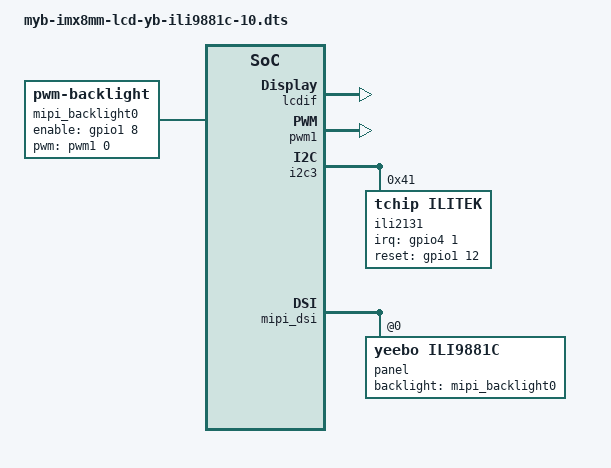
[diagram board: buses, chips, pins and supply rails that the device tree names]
/*
 * Copyright 2021 Cooker Devices
 */

#include "myb-imx8mm-base.dts"

/{
     display-subsystem {                                                                                
         status = "okay";
	};
    
        mipi_backlight0: mipi_backlight@0 {
                compatible = "pwm-backlight";
                pwms = <&pwm1 0 1000000 >; /*1KHZ*/
                enable-gpios = <&gpio1 8 GPIO_ACTIVE_HIGH>; 
                brightness-levels = < 0  1  2  3  4  5  6  7  8  9
                                10 11 12 13 14 15 16 17 18 19
                                20 21 22 23 24 25 26 27 28 29
                                30 31 32 33 34 35 36 37 38 39
                                40 41 42 43 44 45 46 47 48 49
                                50 51 52 53 54 55 56 57 58 59
                                60 61 62 63 64 65 66 67 68 69
                                70 71 72 73 74 75 76 77 78 79
                                80 81 82 83 84 85 86 87 88 89
                                90 91 92 93 94 95 96 97 98 99
                                100>;
                default-brightness-level = <100>;
        };
};

&lcdif{
	max-res = <800>, <1280>;
	status = "okay";
};

&iomuxc {
	imx8mm-evk {
		pinctrl_pwm1: mipi0pwm1grp {
			fsl,pins = <
				MX8MM_IOMUXC_GPIO1_IO01_PWM1_OUT 0x19
			>;
		};
               
	        pinctrl_wm8904_amp: wm8904_amp {
			fsl,pins = <
				MX8MM_IOMUXC_SAI5_RXD2_GPIO3_IO23       0x19
			>;
		};
	};

};

&pwm1 {
	pinctrl-names = "default";
	pinctrl-0 = <&pinctrl_pwm1>;
	status = "okay";
};

&iomuxc {
	imx8mm-evk {
                ilitek_ili2131_pins:pinctrl_ili2131grp {
                        fsl,pins = <
                                MX8MM_IOMUXC_GPIO1_IO12_GPIO1_IO12   0x19  //reset pin
                                MX8MM_IOMUXC_SAI1_RXC_GPIO4_IO1      0x19  //interrupt pin
                        
                        >;
                };
                
                pinctrl_mipi_dsi_en: mipi_dsi_en {
		fsl,pins = <
			MX8MM_IOMUXC_SAI2_MCLK_GPIO4_IO27  0x19        0x00000116 //reset
		>;
	};
	};
};

/* touch */
&i2c3 {
        clock_frequency = <400000>;
        pinctrl-names = "default";
        status = "okay";

         ili2131: ili2131@41 { 
        compatible = "tchip,ilitek"; 
        reg = <0x41>; 
        pinctrl-names = "default";
        pinctrl-0 = <&ilitek_ili2131_pins>;

        interrupt-parent = <&gpio4>; 
        interrupts = <1 IRQ_TYPE_EDGE_FALLING>; 
        ilitek,irq-gpio = <&gpio4 1 IRQ_TYPE_EDGE_FALLING>; 
        ilitek,reset-gpio = <&gpio1 12 GPIO_ACTIVE_HIGH>; 
        ilitek,name = "ilitek_i2c"; 

        touchscreen-swapped-x-y;
        touchscreen-revert-y;
        touchscreen-lcm-resolution;
        touchscreen-lcm-resolution-x = <1280>;
        touchscreen-lcm-resolution-y = <800>;

        }; 
};

&mipi_dsi {
	status = "okay";

	panel@0 {
	compatible = "yeebo,ili9881c";
	reg = <0>;
	backlight = <&mipi_backlight0>;
        };
};
